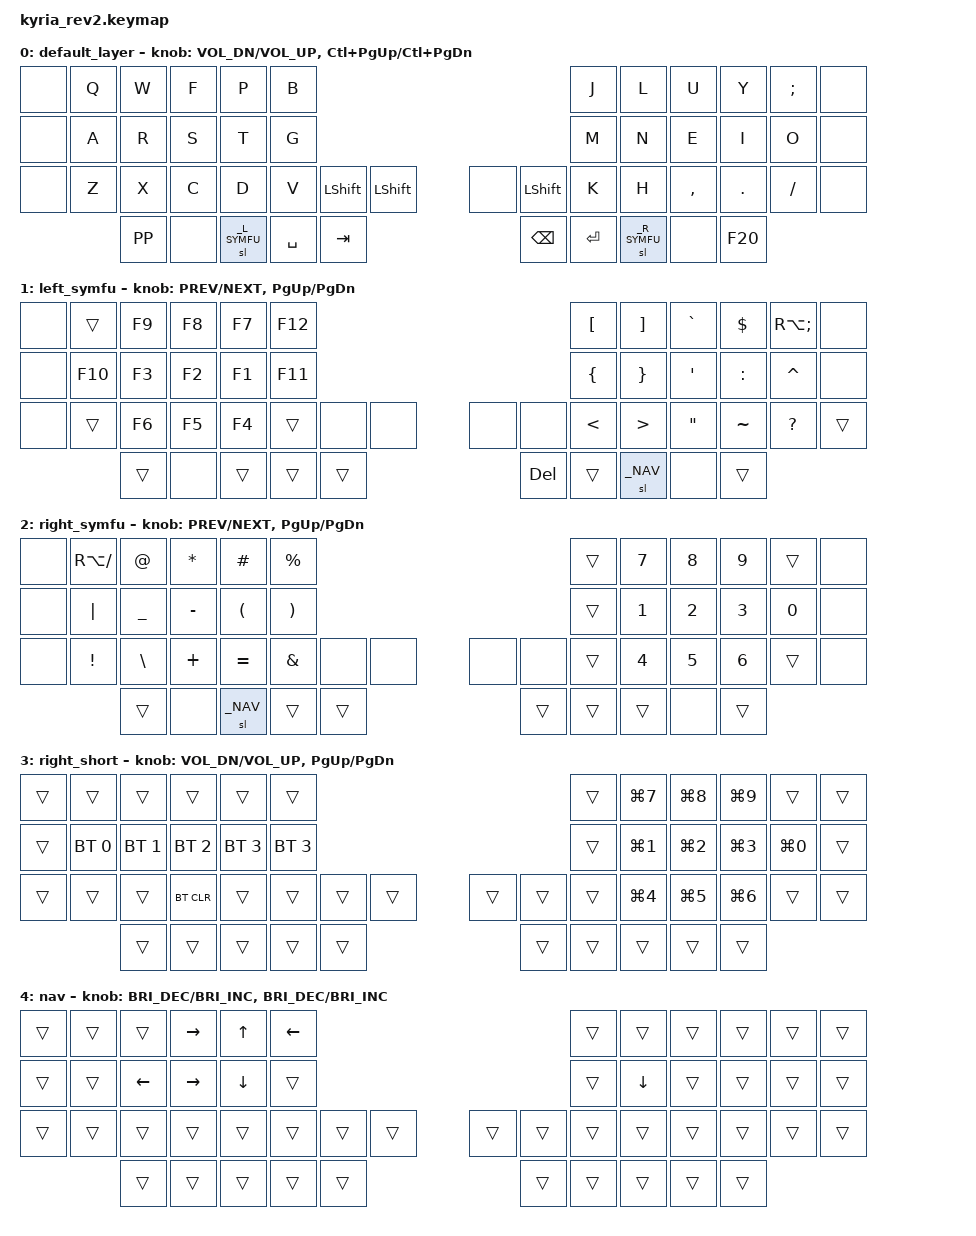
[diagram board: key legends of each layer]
/*
 * Copyright (c) 2020 The ZMK Contributors
 *
 * SPDX-License-Identifier: MIT
 */

#include <behaviors.dtsi>
#include <dt-bindings/zmk/bt.h>
#include <dt-bindings/zmk/keys.h>

#define _BASE 0
#define _L_SYMFU 1
#define _R_SYMFU 2
#define _R_SHORT 3
#define _NAV 4

/ {
// ---------------------------------------------------------------------------------------------------------------------------------
// |   0   |  1  |  2  |   3  |   4  |   5  |                                           |   6  |   7   |   8   |   9  |   10  |  11  |
// +-------+-LGui+LAlt-+-LCtl-+-LSft-+-Clr--+                                           +-Short+-RSft--+-RCtl--+-LAlt-+-RGui--+------+
// |  12   | 13  | 14  |  15  |  16  |  17  |               <-Caps Word ->              |  18  |  19   |  20   |  21  |   22  |  23  |
// +-------+-----+-----+AltGr-+-Nav--+------+                                           +------+-Nav---+-AltGr-+------+-------+------+
// |  24   | 25  | 26  |  27  |  28  |  29  |   30    |    31   |   |   32    |   33    |  34  |  35   |  36   |  37  |   38  |  39  |
//                     |  40  |  41  |  42  |   43    |    44   |   |   45    |   46    |  47  |  48   |  49   |
//                                               ^---------------ESC--------------^
    combos {
        compatible = "zmk,combos";
        combo_esc {
            timeout-ms = <50>;
            key-positions = <43 46>;
            bindings = <&kp ESC>;
        };
        combo_caps_word {
            timeout-ms = <50>;
            key-positions = <17 18>;
            bindings = <&caps_word>;
        };

        // Left top row
        combo_left_super {
            timeout-ms = <50>;
            key-positions = <1 13>;
            bindings = <&sk LGUI>;
        };
        combo_left_alt {
            timeout-ms = <50>;
            key-positions = <2 14>;
            bindings = <&sk LALT>;
        };
        combo_left_ctrl {
            timeout-ms = <50>;
            key-positions = <3 15>;
            bindings = <&sk LCTL>;
        };
        combo_left_shift {
            timeout-ms = <50>;
            key-positions = <4 16>;
            bindings = <&sk LSHFT>;
        };
        combo_clear {
            timeout-ms = <50>;
            key-positions = <5 17>;
            bindings = <&sys_reset>;
        };

        // Right top row
        combo_right_short {
            timeout-ms = <50>;
            key-positions = <6 18>;
            bindings = <&sl _R_SHORT>;
        };
        combo_right_shift {
            timeout-ms = <50>;
            key-positions = <7 19>;
            bindings = <&sk RSHFT>;
        };
        combo_right_ctrl {
            timeout-ms = <50>;
            key-positions = <8 20>;
            bindings = <&sk RCTL>;
        };
        combo_right_alt {
            timeout-ms = <50>;
            key-positions = <9 21>;
            bindings = <&sk LALT>;
        };
        combo_right_gui {
            timeout-ms = <50>;
            key-positions = <10 22>;
            bindings = <&sk RGUI>;
        };

        // Left bottom row
        combo_left_altgr {
            timeout-ms = <50>;
            key-positions = <15 27>;
            bindings = <&sk RALT>;
        };

        // Right bottom row
        combo_right_altgr {
            timeout-ms = <50>;
            key-positions = <20 36>;
            bindings = <&sk RALT>;
        };
    };

    sensors {
        compatible = "zmk,keymap-sensors";
        triggers-per-rotation = <36>;
    };

    keymap {
        compatible = "zmk,keymap";
        default_layer {
// ---------------------------------------------------------------------------------------------------------------------------------
// |       |  Q  |  W  |  F   |  P   |  B   |                                          |  J   |  L    |  U    |  Y   |   ;   |      |
// |       |  A  |  R  |  S   |  T   |  G   |                                          |  M   |  N    |  E    |  I   |   O   |      |
// |       |  Z  |  X  |  C   |  D   |  V   |         |         |  |         |         |  K   |  H    |  ,    |  .   |   /   |      |
//                     | GUI  |      | RET  |  SPACE  |   TAB   |  | BSPACE  |  ENTER  | TAB  |       | R-ALT |
            bindings = <
    &none   &kp Q &kp W &kp F &kp P &kp B                                                &kp J &kp L  &kp U     &kp Y   &kp SEMI &none
    &none   &kp A &kp R &kp S &kp T &kp G                                                &kp M &kp N  &kp E     &kp I   &kp O &none
    &none   &kp Z &kp X &kp C &kp D &kp V &kp LSHFT &kp LSHFT        &none    &kp LSHFT  &kp K &kp H  &kp COMMA &kp DOT &kp FSLH &none
                  &kp K_PP &none &sl _L_SYMFU &kp SPACE &kp TAB      &kp BSPC  &kp RET  &sl _R_SYMFU &none &kp F20
            >;
            sensor-bindings = <&inc_dec_kp C_VOL_DN C_VOL_UP &inc_dec_kp LC(PG_UP) LC(PG_DN)>;
        };
        left_symfu {
// ---------------------------------------------------------------------------------------------------------------------------------
// |       |     |  F9 |  F8  |  F7  |  F12 |                                          |  [   |  ]    |  `    |  $   |   …   |      |
// |       | F10 |  F3 |  F2  |  F1  |  F11 |                                          |  {   |  }    |  '    |  :   |   ^   |      |
// |       |     |  F6 |  F5  |  F4  |      |         |         |  |         |         |  <   |  >    |  "    |  ~   |   ?   |      |
//                     |      |      |      |         |         |  |   DEL   |         |      |       |       |
            bindings = <
    &none   &trans  &kp F9 &kp F8 &kp F7 &kp F12                                  &kp LBKT &kp RBKT &kp GRAVE &kp DLLR  &kp RA(SEMI) &none
    &none   &kp F10 &kp F3 &kp F2 &kp F1 &kp F11                                  &kp LBRC &kp RBRC &kp SQT   &kp COLON &kp CARET    &none
    &none   &trans  &kp F6 &kp F5 &kp F4 &trans &none &none       &none   &none   &kp LT   &kp GT   &kp DQT   &kp TILDE &kp QMARK    &trans
                           &trans &none &trans &trans &trans      &kp DEL &trans  &sl _NAV &none &trans
            >;
            sensor-bindings = <&inc_dec_kp C_PREV C_NEXT &inc_dec_kp PG_UP PG_DN>;
        };
        right_symfu {
// ---------------------------------------------------------------------------------------------------------------------------------
// |       |  °  |  @  |  *   |  #   |  %   |                                          |      |  7    |  8    |  9   |       |      |
// |       |  |  |  _  |  -   |  (   |  )   |                                          |      |  1    |  2    |  3   |   0   |      |
// |       |  !  |  \  |  +   |  =   |  &   |         |         |  |         |         |      |  4    |  5    |  6   |       |      |
//                     |      |      |      |         |         |  |         |         |      |       |       |
            bindings = <
    &none &kp RA(FSLH)  &kp AT    &kp STAR  &kp HASH  &kp PRCNT                                     &trans &kp N7 &kp N8 &kp N9 &trans &none 
    &none &kp PIPE      &kp UNDER &kp MINUS &kp LPAR  &kp RPAR                                      &trans &kp N1 &kp N2 &kp N3 &kp N0 &none
    &none &kp EXCL      &kp BSLH  &kp PLUS  &kp EQUAL &kp AMPS   &none  &none       &none   &none   &trans &kp N4 &kp N5 &kp N6 &trans &none
                                  &trans    &none     &sl _NAV   &trans &trans      &trans  &trans  &trans &none &trans
            >;
            sensor-bindings = <&inc_dec_kp C_PREV C_NEXT &inc_dec_kp PG_UP PG_DN>;
        };
        right_short {
// ---------------------------------------------------------------------------------------------------------------------------------
// |       |      |      |      |      |      |                                         |      |  s-7 | s-8  |  s-9 |      |      |
// |       | BT0  | BT1  | BT2  | BT3  | BT4  |                                         |      |  s-1 | s-2  |  s-3 | s-0  |      |
// |       |      |      |BT_CLR|      |      |      |      |      |      |      |      |      |  s-4 | s-5  |  s-6 |      |      |
//                       |      |      |      |      |      |      |      |      |      |      |      |      |
            bindings = <
    &trans &trans       &trans       &trans       &trans       &trans                                  &trans &kp LG(N7) &kp LG(N8) &kp LG(N9) &trans     &trans
    &trans &bt BT_SEL 0 &bt BT_SEL 1 &bt BT_SEL 2 &bt BT_SEL 3 &bt BT_SEL 3                            &trans &kp LG(N1) &kp LG(N2) &kp LG(N3) &kp LG(N0) &trans
    &trans &trans       &trans       &bt BT_CLR   &trans       &trans &trans &trans      &trans &trans &trans &kp LG(N4) &kp LG(N5) &kp LG(N6) &trans     &trans
                                     &trans       &trans       &trans &trans &trans      &trans &trans &trans &trans &trans
            >;
            sensor-bindings = <&inc_dec_kp C_VOL_DN C_VOL_UP &inc_dec_kp PG_UP PG_DN>;
        };
        nav {
// ---------------------------------------------------------------------------------------------------------------------------------
// |       |      |      |  →   |  ↑   |  ←   |                                         |      |      |      |      |      |      |
// |       |      |  ←   |  →   |  ↓   |      |                                         |      |  ↓   |      |      |      |      |
// |       |      |      |      |      |      |      |      |      |      |      |      |      |      |      |      |      |      |
//                       |      |      |      |      |      |      |      |      |      |      |      |      |
            bindings = <
    &trans &trans &trans   &kp RIGHT &kp UP   &kp LEFT                           &trans &trans &trans &trans &trans &trans
    &trans &trans &kp LEFT &kp RIGHT &kp DOWN &trans                             &trans &kp DOWN &trans &trans &trans &trans
    &trans &trans &trans   &trans    &trans   &trans &trans &trans &trans &trans &trans &trans &trans &trans &trans &trans
                                     &trans   &trans &trans &trans &trans &trans &trans &trans &trans &trans
            >;
            sensor-bindings = <&inc_dec_kp C_BRI_DEC C_BRI_INC &inc_dec_kp C_BRI_DEC C_BRI_INC>;
        };
    };
};
